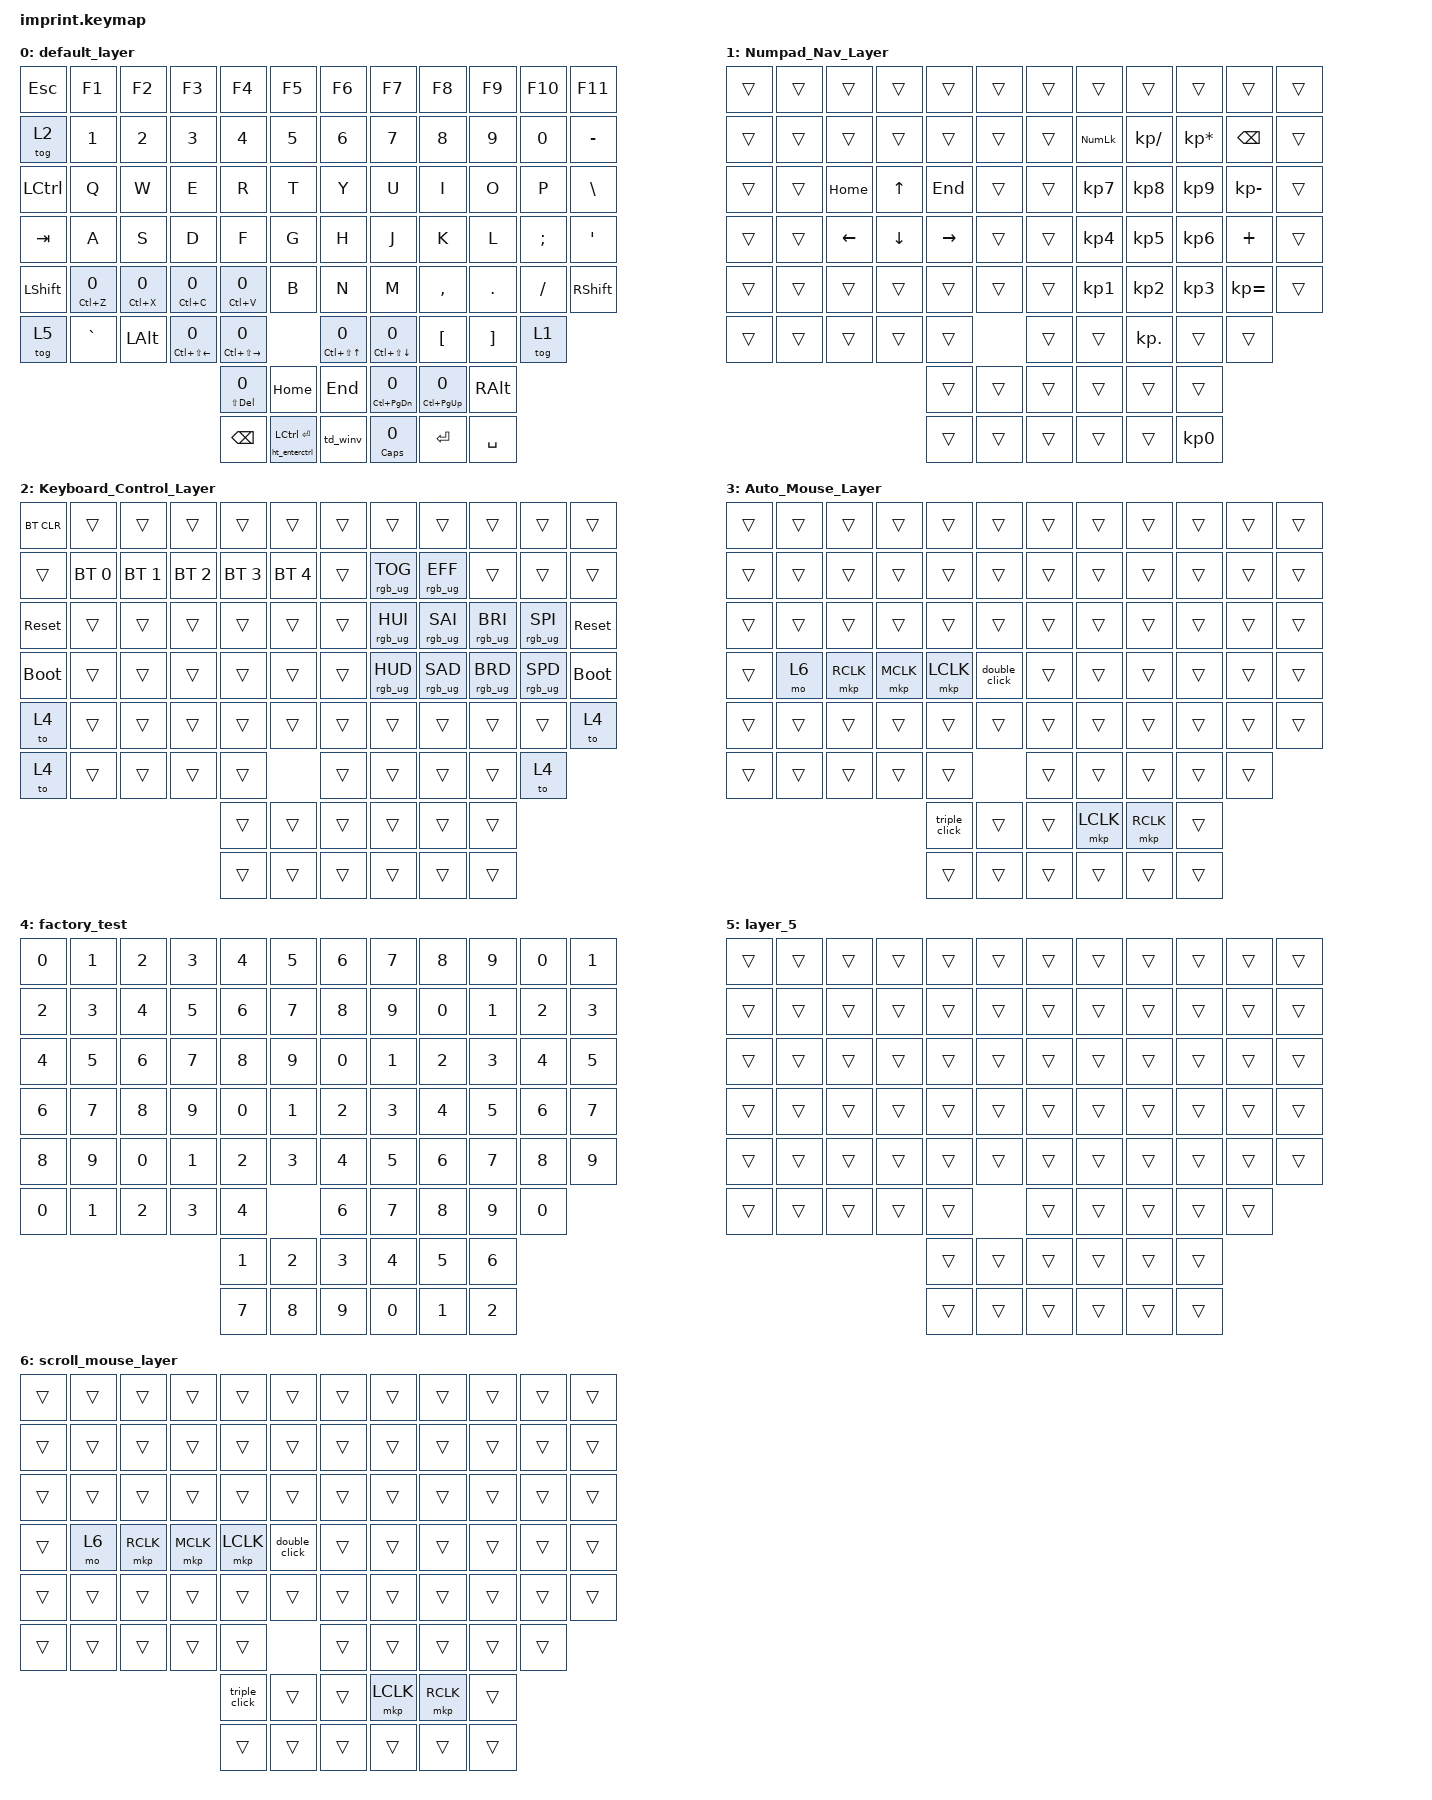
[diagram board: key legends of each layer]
#include <input/processors.dtsi>
#include <dt-bindings/zmk/input_transform.h>
#include <behaviors.dtsi>
#include "custom_behaviors.dtsi"
#include <dt-bindings/zmk/bt.h>
#include <dt-bindings/zmk/keys.h>
#include <dt-bindings/zmk/pointing.h>
#include <dt-bindings/zmk/rgb.h>

/ {
    chosen { zmk,matrix-transform = &imprint_function_row_full_bottom_row; };

    combos {
        compatible = "zmk,combos";

        // KW combo: Hold K+W simultaneously
        combo_kw {
            timeout-ms = <50>;
            key-positions = <44 26>; // K=44, W=26
            bindings = <&macro_kw>;
            layers = <0>; // Only active on default layer
        };
        // DT combo: Hold D+T simultaneously  
        combo_dt {
            timeout-ms = <50>;
            key-positions = <39 29>; // D=39, T=29
            bindings = <&macro_dt>;
            layers = <0>; // Only active on default layer
        };
        // IA combo: Hold I+A simultaneously  
        combo_ia {
            timeout-ms = <50>;
            key-positions = <32 37>; // I=32, A=37
            bindings = <&macro_ia>;
            layers = <0>; // Only active on default layer
        };
    };

    macros {
        //Triggers from KW Combo
        macro_kw: macro_kw {
            compatible = "zmk,behavior-macro";
            label = "KW_MACRO";
            #binding-cells = <0>;
            wait-ms = <0>;     // No delay between keypresses
            tap-ms = <5>;      // Hold each key for only 5ms
            bindings = <&kp K &kp LS(W) &kp LS(D) &kp LS(F) &kp U &kp N9 &kp LS(S) &kp D &kp LS(Z) &kp Y &kp N1>;
        };
        //Triggers from DT Combo
        macro_dt: macro_dt {
            compatible = "zmk,behavior-macro";
            label = "DT_MACRO";
            #binding-cells = <0>;
            wait-ms = <0>;     // No delay between keypresses
            tap-ms = <5>;      // Hold each key for only 5ms
            bindings = <&kp LS(D) &kp O &kp N &kp T &kp T &kp O &kp U &kp C &kp H &kp N1 &kp N2 &kp N1 &kp EXCL &kp AT_SIGN &kp EXCL>;
        };
        //Triggers from IA Combo
        macro_ia: macro_ia {
            compatible = "zmk,behavior-macro";
            label = "IA_MACRO";
            #binding-cells = <0>;
            wait-ms = <0>;     // No delay between keypresses
            tap-ms = <5>;      // Hold each key for only 5ms
            bindings = <&kp I &kp A &kp N &kp DOT &kp N &kp E &kp I &kp L &kp AT_SIGN &kp A &kp L &kp I &kp A &kp N &kp Z &kp A &kp DOT &kp C &kp O &kp M>;
        };


        double_click: double_click {
            compatible = "zmk,behavior-macro";
            #binding-cells = <0>;
            wait-ms = <20>;
            tap-ms = <20>;
            bindings = <&macro_tap &mkp LCLK &mkp LCLK>;
        };

        triple_click: triple_click {
            compatible = "zmk,behavior-macro";
            #binding-cells = <0>;
            wait-ms = <20>;
            tap-ms = <20>;
            bindings = <&macro_tap &mkp LCLK &mkp LCLK &mkp LCLK>;
        };
    };

    keymap {
        compatible = "zmk,keymap";

        default_layer {
            bindings = <
&kp ESC         &kp F1                      &kp F2             &kp F3                      &kp F4                       &kp F5                                               &kp F6                    &kp F7                    &kp F8                      &kp F9                      &kp F10            &kp F11
&tog 2          &kp N1                      &kp N2             &kp N3                      &kp N4                       &kp N5                                               &kp N6                    &kp N7                    &kp N8                      &kp N9                      &kp N0             &kp MINUS
&kp LCTRL       &kp Q                       &kp W              &kp E                       &kp R                        &kp T                                                &kp Y                     &kp U                     &kp I                       &kp O                       &kp P              &kp BSLH
&kp TAB         &kp A                       &kp S              &kp D                       &kp F                        &kp G                                                &kp H                     &kp J                     &kp K                       &kp L                       &kp SEMI           &kp SQT
&kp LEFT_SHIFT  &ht_z LC(Z) 0               &ht_x LC(X) 0      &ht_c LC(C) 0               &ht_v LC(V) 0                &kp B                                                &kp N                     &kp M                     &kp COMMA                   &kp DOT                     &kp FSLH           &kp RSHFT
&tog 5          &kp GRAVE                   &kp LEFT_ALT       &ht_left LC(LS(LEFT)) 0     &ht_right LC(LS(RIGHT)) 0                                                                    &ht_up LC(LS(UP)) 0       &ht_down LC(LS(DOWN)) 0     &kp LEFT_BRACKET            &kp RIGHT_BRACKET  &tog 1
                                                                                           &ht_del LS(DEL) 0            &kp HOME                  &kp END                   &ht_pgdn LC(PG_DN) 0      &ht_pgup LC(PG_UP) 0      &kp RIGHT_ALT
                                                                                           &kp BACKSPACE                &ht_enterctrl LCTRL ENTER  &td_winv                  &ht_win2 CAPS 0           &kp ENTER                 &kp SPACE
            >;
        };

        Numpad_Nav_Layer {
            bindings = <
&trans  &trans  &trans          &trans        &trans     &trans            &trans  &trans           &trans           &trans           &trans           &trans
&trans  &trans  &trans          &trans        &trans     &trans            &trans  &kp KP_NUM       &kp KP_DIVIDE    &kp KP_MULTIPLY  &kp BACKSPACE    &trans
&trans  &trans  &kp HOME        &kp UP_ARROW  &kp END    &trans            &trans  &kp KP_NUMBER_7  &kp KP_NUMBER_8  &kp KP_NUMBER_9  &kp KP_SUBTRACT  &trans
&trans  &trans  &kp LEFT_ARROW  &kp DOWN      &kp RIGHT  &trans            &trans  &kp KP_NUMBER_4  &kp KP_NUMBER_5  &kp KP_NUMBER_6  &kp PLUS         &trans
&trans  &trans  &trans          &trans        &trans     &trans            &trans  &kp KP_NUMBER_1  &kp KP_NUMBER_2  &kp KP_NUMBER_3  &kp KP_EQUAL     &trans
&trans  &trans  &trans          &trans        &trans                               &trans           &trans           &kp KP_DOT           &trans           &trans
                                              &trans     &trans  &trans    &trans  &trans           &trans
                                              &trans     &trans  &trans    &trans  &trans           &kp KP_NUMBER_0
            >;
        };

        Keyboard_Control_Layer {
            bindings = <
&bt BT_CLR   &trans        &trans        &trans        &trans        &trans                  &trans  &trans           &trans           &trans           &trans           &trans
&trans       &bt BT_SEL 0  &bt BT_SEL 1  &bt BT_SEL 2  &bt BT_SEL 3  &bt BT_SEL 4            &trans  &rgb_ug RGB_TOG  &rgb_ug RGB_EFF  &trans           &trans           &trans
&sys_reset   &trans        &trans        &trans        &trans        &trans                  &trans  &rgb_ug RGB_HUI  &rgb_ug RGB_SAI  &rgb_ug RGB_BRI  &rgb_ug RGB_SPI  &sys_reset
&bootloader  &trans        &trans        &trans        &trans        &trans                  &trans  &rgb_ug RGB_HUD  &rgb_ug RGB_SAD  &rgb_ug RGB_BRD  &rgb_ug RGB_SPD  &bootloader
&to 4        &trans        &trans        &trans        &trans        &trans                  &trans  &trans           &trans           &trans           &trans           &to 4
&to 4        &trans        &trans        &trans        &trans                                        &trans           &trans           &trans           &trans           &to 4
                                                       &trans        &trans        &trans    &trans  &trans           &trans
                                                       &trans        &trans        &trans    &trans  &trans           &trans
            >;
        };

        Auto_Mouse_Layer {
            bindings = <
&trans  &trans  &trans        &trans        &trans     &trans                   &trans  &trans  &trans  &trans  &trans  &trans
&trans  &trans  &trans        &trans        &trans     &trans                   &trans  &trans  &trans  &trans  &trans  &trans
&trans  &trans  &trans        &trans        &trans     &trans                   &trans  &trans  &trans  &trans  &trans  &trans
&trans  &mo 6   &mkp RCLK  &mkp MCLK  &mkp LCLK &double_click               &trans  &trans  &trans  &trans  &trans  &trans
&trans  &trans  &trans        &trans        &trans     &trans                   &trans  &trans  &trans  &trans  &trans  &trans
&trans  &trans  &trans        &trans        &trans                              &trans  &trans  &trans  &trans  &trans
                                            &triple_click  &trans  &trans    &mkp LCLK  &mkp RCLK &trans
                                            &trans         &trans  &trans    &trans  &trans  &trans
            >;
        };

        factory_test {
            bindings = <
&kp N0  &kp N1  &kp N2  &kp N3  &kp N4  &kp N5            &kp N6  &kp N7  &kp N8  &kp N9  &kp N0  &kp N1
&kp N2  &kp N3  &kp N4  &kp N5  &kp N6  &kp N7            &kp N8  &kp N9  &kp N0  &kp N1  &kp N2  &kp N3
&kp N4  &kp N5  &kp N6  &kp N7  &kp N8  &kp N9            &kp N0  &kp N1  &kp N2  &kp N3  &kp N4  &kp N5
&kp N6  &kp N7  &kp N8  &kp N9  &kp N0  &kp N1            &kp N2  &kp N3  &kp N4  &kp N5  &kp N6  &kp N7
&kp N8  &kp N9  &kp N0  &kp N1  &kp N2  &kp N3            &kp N4  &kp N5  &kp N6  &kp N7  &kp N8  &kp N9
&kp N0  &kp N1  &kp N2  &kp N3  &kp N4                            &kp N6  &kp N7  &kp N8  &kp N9  &kp N0
                                &kp N1  &kp N2  &kp N3    &kp N4  &kp N5  &kp N6
                                &kp N7  &kp N8  &kp N9    &kp N0  &kp N1  &kp N2
            >;
        };

        layer_5 {
            bindings = <
&trans  &trans  &trans        &trans        &trans  &trans            &trans  &trans  &trans  &trans  &trans  &trans
&trans  &trans  &trans        &trans        &trans  &trans            &trans  &trans  &trans  &trans  &trans  &trans
&trans  &trans  &trans        &trans        &trans  &trans            &trans  &trans  &trans  &trans  &trans  &trans
&trans  &trans  &trans        &trans        &trans  &trans            &trans  &trans  &trans  &trans  &trans  &trans
&trans  &trans  &trans        &trans        &trans  &trans            &trans  &trans  &trans  &trans  &trans  &trans
&trans  &trans  &trans        &trans        &trans                            &trans  &trans  &trans  &trans  &trans
                                            &trans  &trans  &trans    &trans  &trans  &trans
                                            &trans  &trans  &trans    &trans  &trans  &trans
            >;
        };

        scroll_mouse_layer {
            bindings = <
&trans  &trans  &trans     &trans     &trans     &trans                                 &trans  &trans  &trans  &trans  &trans  &trans
&trans  &trans  &trans     &trans     &trans     &trans                                 &trans  &trans  &trans  &trans  &trans  &trans
&trans  &trans  &trans     &trans     &trans     &trans                                 &trans  &trans  &trans  &trans  &trans  &trans
&trans  &mo 6   &mkp RCLK  &mkp MCLK  &mkp LCLK &double_click                          &trans  &trans  &trans  &trans  &trans  &trans
&trans  &trans  &trans     &trans     &trans     &trans                                 &trans  &trans  &trans  &trans  &trans  &trans
&trans  &trans  &trans     &trans     &trans                                            &trans  &trans  &trans  &trans  &trans
                                      &triple_click   &trans  &trans         &mkp LCLK  &mkp RCLK &trans
                                      &trans          &trans  &trans         &trans     &trans     &trans
            >;
        };
    };
};


//left hand trackball configuration
&trackball_central_listener {
    input-processors =
        // multiply sensitivity by 1, divide by 15 (make it slower for scrolling with finer steps)
        <&zip_xy_scaler 1 15>,
        // make this trackball output scrolling events by default instead of cursor movement
        <&zip_xy_to_scroll_mapper>,
        // invert vertical scrolling so that the view moves in the same direction as the top of the trackball
        <&zip_scroll_transform INPUT_TRANSFORM_Y_INVERT>;
};

// Right hand trackball configuration - back to simple approach
&trackball_peripheral_listener {
    input-processors = <&zip_temp_layer 3 500>;
};
